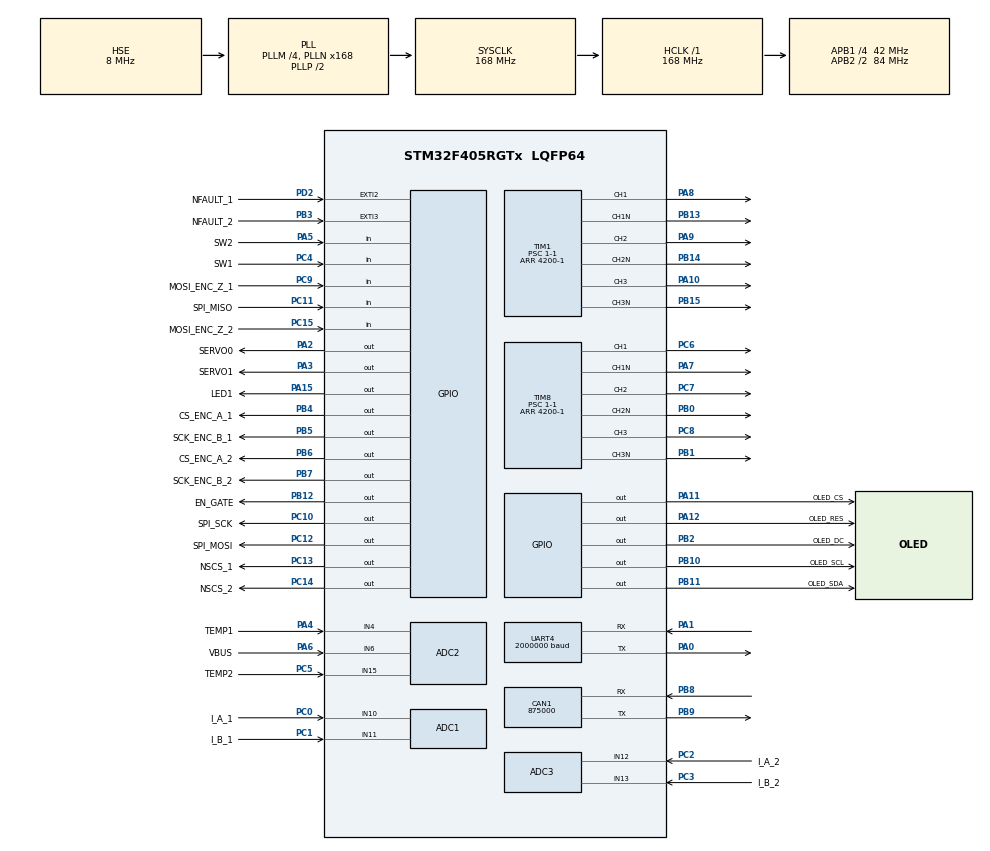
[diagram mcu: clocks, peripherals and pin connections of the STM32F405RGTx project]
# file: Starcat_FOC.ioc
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ADC1.Channel-16\#ChannelInjectedConversion=ADC_CHANNEL_10
ADC1.Channel-17\#ChannelInjectedConversion=ADC_CHANNEL_11
ADC1.Channel-18\#ChannelRegularConversion=ADC_CHANNEL_11
ADC1.Channel-9\#ChannelRegularConversion=ADC_CHANNEL_10
ADC1.ContinuousConvMode=DISABLE
ADC1.DMAContinuousRequests=DISABLE
ADC1.DiscontinuousConvMode=DISABLE
ADC1.EOCSelection=ADC_EOC_SEQ_CONV
ADC1.ExternalTrigConv=ADC_SOFTWARE_START
ADC1.ExternalTrigInjecConv=ADC_EXTERNALTRIGINJECCONV_T1_CC4
ADC1.InjNumberOfConversion=2
ADC1.InjectedConvMode=None
ADC1.InjectedOffset-16\#ChannelInjectedConversion=0
ADC1.InjectedOffset-17\#ChannelInjectedConversion=0
ADC1.InjectedRank-16\#ChannelInjectedConversion=1
ADC1.InjectedRank-17\#ChannelInjectedConversion=2
ADC1.NbrOfConversion=2
ADC1.NbrOfConversionFlag=1
ADC1.Rank-18\#ChannelRegularConversion=2
ADC1.Rank-9\#ChannelRegularConversion=1
ADC1.SamplingTime-16\#ChannelInjectedConversion=ADC_SAMPLETIME_15CYCLES
ADC1.SamplingTime-17\#ChannelInjectedConversion=ADC_SAMPLETIME_15CYCLES
ADC1.SamplingTime-18\#ChannelRegularConversion=ADC_SAMPLETIME_3CYCLES
ADC1.SamplingTime-9\#ChannelRegularConversion=ADC_SAMPLETIME_3CYCLES
ADC1.ScanConvMode=ENABLE
ADC1.master=1
ADC2.Channel-0\#ChannelRegularConversion=ADC_CHANNEL_6
ADC2.Channel-4\#ChannelRegularConversion=ADC_CHANNEL_4
ADC2.Channel-5\#ChannelRegularConversion=ADC_CHANNEL_15
ADC2.ContinuousConvMode=ENABLE
ADC2.DMAContinuousRequests=ENABLE
ADC2.EOCSelection=ADC_EOC_SEQ_CONV
ADC2.ExternalTrigConv=ADC_SOFTWARE_START
ADC2.NbrOfConversion=3
ADC2.NbrOfConversionFlag=1
ADC2.Rank-4\#ChannelRegularConversion=2
ADC2.Rank-5\#ChannelRegularConversion=3
ADC2.SamplingTime-0\#ChannelRegularConversion=ADC_SAMPLETIME_480CYCLES
ADC2.SamplingTime-4\#ChannelRegularConversion=ADC_SAMPLETIME_480CYCLES
ADC2.SamplingTime-5\#ChannelRegularConversion=ADC_SAMPLETIME_480CYCLES
ADC2.ScanConvMode=ENABLE
ADC3.Channel-0\#ChannelRegularConversion=ADC_CHANNEL_12
ADC3.Channel-10\#ChannelRegularConversion=ADC_CHANNEL_13
ADC3.Channel-8\#ChannelInjectedConversion=ADC_CHANNEL_12
ADC3.Channel-9\#ChannelInjectedConversion=ADC_CHANNEL_13
ADC3.ContinuousConvMode=DISABLE
ADC3.DMAContinuousRequests=DISABLE
ADC3.EOCSelection=ADC_EOC_SEQ_CONV
ADC3.ExternalTrigConv=ADC_SOFTWARE_START
ADC3.ExternalTrigInjecConv=ADC_EXTERNALTRIGINJECCONV_T8_CC4
ADC3.InjNumberOfConversion=2
ADC3.InjectedOffset-8\#ChannelInjectedConversion=0
ADC3.InjectedOffset-9\#ChannelInjectedConversion=0
ADC3.InjectedRank-8\#ChannelInjectedConversion=1
ADC3.InjectedRank-9\#ChannelInjectedConversion=2
ADC3.NbrOfConversion=2
ADC3.NbrOfConversionFlag=1
ADC3.Rank-0\#ChannelRegularConversion=1
ADC3.Rank-10\#ChannelRegularConversion=2
ADC3.SamplingTime-0\#ChannelRegularConversion=ADC_SAMPLETIME_56CYCLES
ADC3.SamplingTime-10\#ChannelRegularConversion=ADC_SAMPLETIME_56CYCLES
ADC3.SamplingTime-8\#ChannelInjectedConversion=ADC_SAMPLETIME_15CYCLES
ADC3.SamplingTime-9\#ChannelInjectedConversion=ADC_SAMPLETIME_15CYCLES
ADC3.ScanConvMode=ENABLE
CAN1.CalculateBaudRate=875000
CAN1.CalculateTimeBit=1142
CAN1.CalculateTimeQuantum=380.95238095238096
Dma.ADC2.1.Direction=DMA_PERIPH_TO_MEMORY
Dma.ADC2.1.FIFOMode=DMA_FIFOMODE_DISABLE
Dma.ADC2.1.Instance=DMA2_Stream2
Dma.ADC2.1.MemDataAlignment=DMA_MDATAALIGN_HALFWORD
Dma.ADC2.1.MemInc=DMA_MINC_ENABLE
Dma.ADC2.1.Mode=DMA_CIRCULAR
Dma.ADC2.1.PeriphDataAlignment=DMA_PDATAALIGN_HALFWORD
Dma.ADC2.1.PeriphInc=DMA_PINC_DISABLE
Dma.ADC2.1.Priority=DMA_PRIORITY_LOW
Dma.Request0=UART4_RX
Dma.Request1=ADC2
Dma.UART4_RX.0.Direction=DMA_PERIPH_TO_MEMORY
Dma.UART4_RX.0.FIFOMode=DMA_FIFOMODE_DISABLE
Dma.UART4_RX.0.Instance=DMA1_Stream2
Dma.UART4_RX.0.MemDataAlignment=DMA_MDATAALIGN_BYTE
Dma.UART4_RX.0.MemInc=DMA_MINC_ENABLE
Dma.UART4_RX.0.Mode=DMA_NORMAL
Dma.UART4_RX.0.PeriphDataAlignment=DMA_PDATAALIGN_BYTE
Dma.UART4_RX.0.PeriphInc=DMA_PINC_DISABLE
Dma.UART4_RX.0.Priority=DMA_PRIORITY_LOW
Mcu.Family=STM32F4
Mcu.Name=STM32F405RGTx
Mcu.Package=LQFP64
NVIC.ADC_IRQn=true\:0\:0\:true\:false\:true\:true\:true\:true
NVIC.DMA1_Stream2_IRQn=true\:0\:0\:true\:false\:true\:false\:true\:true
NVIC.DMA2_Stream2_IRQn=true\:0\:0\:false\:false\:true\:false\:true\:true
NVIC.EXTI2_IRQn=true\:13\:0\:true\:false\:true\:true\:true\:true
NVIC.EXTI3_IRQn=true\:13\:0\:true\:false\:true\:true\:true\:true
NVIC.PriorityGroup=NVIC_PRIORITYGROUP_4
NVIC.TIM4_IRQn=true\:4\:0\:true\:false\:true\:true\:true\:true
NVIC.UART4_IRQn=true\:1\:0\:true\:false\:true\:true\:true\:true
PA0-WKUP.Mode=Asynchronous
PA0-WKUP.Signal=UART4_TX
PA1.Mode=Asynchronous
PA1.Signal=UART4_RX
PA10.Signal=S_TIM1_CH3
PA11.GPIO_Label=OLED_CS
PA11.Signal=GPIO_Output
PA12.GPIO_Label=OLED_RES
PA12.Signal=GPIO_Output
PA13.Mode=Serial_Wire
PA13.Signal=SYS_JTMS-SWDIO
PA14.Mode=Serial_Wire
PA14.Signal=SYS_JTCK-SWCLK
PA15.GPIO_Label=LED1
PA15.PinState=GPIO_PIN_SET
PA15.Signal=GPIO_Output
PA2.GPIO_Label=SERVO0
PA2.Signal=GPIO_Output
PA3.GPIO_Label=SERVO1
PA3.Signal=GPIO_Output
PA4.GPIO_Label=TEMP1
PA4.GPIO_Mode=GPIO_MODE_ANALOG
PA4.GPIO_PuPd=GPIO_NOPULL
PA4.Signal=ADCx_IN4
PA5.GPIO_Label=SW2
PA5.Signal=GPIO_Input
PA6.GPIO_Label=VBUS
PA6.GPIO_Mode=GPIO_MODE_ANALOG
PA6.GPIO_PuPd=GPIO_NOPULL
PA6.Signal=ADCx_IN6
PA7.Mode=PWM Generation1 CH1 CH1N
PA7.Signal=TIM8_CH1N
PA8.Signal=S_TIM1_CH1
PA9.Signal=S_TIM1_CH2
PB0.Mode=PWM Generation2 CH2 CH2N
PB0.Signal=TIM8_CH2N
PB1.Mode=PWM Generation3 CH3 CH3N
PB1.Signal=TIM8_CH3N
PB10.GPIO_Label=OLED_SCL
PB10.GPIO_ModeDefaultOutputPP=GPIO_MODE_OUTPUT_PP
PB10.GPIO_PuPd=GPIO_PULLDOWN
PB10.GPIO_Speed=GPIO_SPEED_FREQ_LOW
PB10.Signal=GPIO_Output
PB11.GPIO_Label=OLED_SDA
PB11.GPIO_PuPd=GPIO_PULLDOWN
PB11.Signal=GPIO_Output
PB12.GPIO_Label=EN_GATE
PB12.GPIO_PuPd=GPIO_NOPULL
PB12.PinState=GPIO_PIN_RESET
PB12.Signal=GPIO_Output
PB13.Mode=PWM Generation1 CH1 CH1N
PB13.Signal=TIM1_CH1N
PB14.Mode=PWM Generation2 CH2 CH2N
PB14.Signal=TIM1_CH2N
PB15.Mode=PWM Generation3 CH3 CH3N
PB15.Signal=TIM1_CH3N
PB2.GPIO_Label=OLED_DC
PB2.GPIO_PuPd=GPIO_PULLDOWN
PB2.GPIO_Speed=GPIO_SPEED_FREQ_LOW
PB2.PinState=GPIO_PIN_RESET
PB2.Signal=GPIO_Output
PB3.GPIO_Label=NFAULT_2
PB3.GPIO_ModeDefaultEXTI=GPIO_MODE_IT_RISING_FALLING
PB3.GPIO_PuPd=GPIO_PULLUP
PB3.Signal=GPXTI3
PB4.GPIO_Label=CS_ENC_A_1
PB4.Signal=GPIO_Output
PB5.GPIO_Label=SCK_ENC_B_1
PB5.GPIO_Speed=GPIO_SPEED_FREQ_LOW
PB5.Signal=GPIO_Output
PB6.GPIO_Label=CS_ENC_A_2
PB6.Signal=GPIO_Output
PB7.GPIO_Label=SCK_ENC_B_2
PB7.GPIO_Speed=GPIO_SPEED_FREQ_LOW
PB7.Signal=GPIO_Output
PB8.Mode=CAN_Activate
PB8.Signal=CAN1_RX
PB9.Mode=CAN_Activate
PB9.Signal=CAN1_TX
PC0.GPIO_Label=I_A_1
PC0.Signal=ADCx_IN10
PC1.GPIO_Label=I_B_1
PC1.Signal=ADCx_IN11
PC10.GPIO_Label=SPI_SCK
PC10.Signal=GPIO_Output
PC11.GPIO_Label=SPI_MISO
PC11.Signal=GPIO_Input
PC12.GPIO_Label=SPI_MOSI
PC12.Signal=GPIO_Output
PC13-ANTI_TAMP.GPIO_Label=NSCS_1
PC13-ANTI_TAMP.GPIO_PuPd=GPIO_NOPULL
PC13-ANTI_TAMP.PinState=GPIO_PIN_SET
PC13-ANTI_TAMP.Signal=GPIO_Output
PC14-OSC32_IN.GPIO_Label=NSCS_2
PC14-OSC32_IN.GPIO_PuPd=GPIO_NOPULL
PC14-OSC32_IN.PinState=GPIO_PIN_SET
PC14-OSC32_IN.Signal=GPIO_Output
PC15-OSC32_OUT.GPIO_Label=MOSI_ENC_Z_2
PC15-OSC32_OUT.Signal=GPIO_Input
PC2.GPIO_Label=I_A_2
PC2.Signal=ADCx_IN12
PC3.GPIO_Label=I_B_2
PC3.Signal=ADCx_IN13
PC4.GPIO_Label=SW1
PC4.Signal=GPIO_Input
PC5.GPIO_Label=TEMP2
PC5.GPIO_Mode=GPIO_MODE_ANALOG
PC5.GPIO_PuPd=GPIO_NOPULL
PC5.Signal=ADCx_IN15
PC6.Signal=S_TIM8_CH1
PC7.Signal=S_TIM8_CH2
PC8.Signal=S_TIM8_CH3
PC9.GPIO_Label=MOSI_ENC_Z_1
PC9.Signal=GPIO_Input
PD2.GPIO_Label=NFAULT_1
PD2.GPIO_ModeDefaultEXTI=GPIO_MODE_IT_RISING_FALLING
PD2.GPIO_PuPd=GPIO_PULLUP
PD2.Signal=GPXTI2
PH0-OSC_IN.Mode=HSE-External-Oscillator
PH0-OSC_IN.Signal=RCC_OSC_IN
PH1-OSC_OUT.Mode=HSE-External-Oscillator
PH1-OSC_OUT.Signal=RCC_OSC_OUT
ProjectManager.HeapSize=0x200
ProjectManager.StackSize=0x400
ProjectManager.TargetToolchain=STM32CubeIDE
RCC.48MHZClocksFreq_Value=84000000
RCC.AHBFreq_Value=168000000
RCC.APB1CLKDivider=RCC_HCLK_DIV4
RCC.APB1Freq_Value=42000000
RCC.APB1TimFreq_Value=84000000
RCC.APB2CLKDivider=RCC_HCLK_DIV2
RCC.APB2Freq_Value=84000000
RCC.APB2TimFreq_Value=168000000
RCC.CortexFreq_Value=168000000
RCC.HCLKFreq_Value=168000000
RCC.HSE_VALUE=8000000
RCC.HSI_VALUE=16000000
RCC.LSE_VALUE=32768
RCC.PLLM=4
RCC.PLLN=168
RCC.PLLSourceVirtual=RCC_PLLSOURCE_HSE
RCC.SYSCLKFreq_VALUE=168000000
RCC.SYSCLKSource=RCC_SYSCLKSOURCE_PLLCLK
RCC.VCOOutputFreq_Value=336000000
SH.ADCx_IN10.0=ADC1_IN10,IN10
SH.ADCx_IN11.0=ADC1_IN11,IN11
SH.ADCx_IN12.0=ADC3_IN12,IN12
SH.ADCx_IN13.0=ADC3_IN13,IN13
SH.ADCx_IN15.0=ADC2_IN15,IN15
SH.ADCx_IN4.0=ADC2_IN4,IN4
SH.ADCx_IN6.0=ADC2_IN6,IN6
SH.S_TIM1_CH1.0=TIM1_CH1,PWM Generation1 CH1 CH1N
SH.S_TIM1_CH2.0=TIM1_CH2,PWM Generation2 CH2 CH2N
SH.S_TIM1_CH3.0=TIM1_CH3,PWM Generation3 CH3 CH3N
SH.S_TIM8_CH1.0=TIM8_CH1,PWM Generation1 CH1 CH1N
SH.S_TIM8_CH2.0=TIM8_CH2,PWM Generation2 CH2 CH2N
SH.S_TIM8_CH3.0=TIM8_CH3,PWM Generation3 CH3 CH3N
STMicroelectronics.X-CUBE-ALGOBUILD.1.3.0.LibraryCcDSPOoLibraryJjDSPOoLibrary=true
TIM1.AutoReloadPreload=TIM_AUTORELOAD_PRELOAD_ENABLE
TIM1.BreakPolarity=TIM_BREAKPOLARITY_HIGH
TIM1.BreakState=TIM_BREAK_DISABLE
TIM1.Channel-PWM\ Generation1\ CH1\ CH1N=TIM_CHANNEL_1
TIM1.Channel-PWM\ Generation2\ CH2\ CH2N=TIM_CHANNEL_2
TIM1.Channel-PWM\ Generation3\ CH3\ CH3N=TIM_CHANNEL_3
TIM1.Channel-PWM\ Generation4\ No\ Output=TIM_CHANNEL_4
TIM1.ClockDivision=TIM_CLOCKDIVISION_DIV1
TIM1.CounterMode=TIM_COUNTERMODE_CENTERALIGNED2
TIM1.DeadTime=10-1
TIM1.LockLevel=TIM_LOCKLEVEL_OFF
TIM1.OCMode_PWM-PWM\ Generation1\ CH1\ CH1N=TIM_OCMODE_PWM1
TIM1.OCMode_PWM-PWM\ Generation2\ CH2\ CH2N=TIM_OCMODE_PWM1
TIM1.OCMode_PWM-PWM\ Generation3\ CH3\ CH3N=TIM_OCMODE_PWM1
TIM1.OCMode_PWM-PWM\ Generation4\ No\ Output=TIM_OCMODE_PWM2
TIM1.Period=4200-1
TIM1.Prescaler=1-1
TIM1.Pulse-PWM\ Generation4\ No\ Output=0
TIM1.RepetitionCounter=0
TIM1.TIM_MasterOutputTrigger=TIM_TRGO_OC4REF
TIM2.AutoReloadPreload=TIM_AUTORELOAD_PRELOAD_ENABLE
TIM2.Period=10000-1
TIM2.Prescaler=84-1
TIM2.TIM_MasterOutputTrigger=TIM_TRGO_UPDATE
TIM4.AutoReloadPreload=TIM_AUTORELOAD_PRELOAD_ENABLE
TIM4.Period=1000-1
TIM4.Prescaler=42-1
TIM5.AutoReloadPreload=TIM_AUTORELOAD_PRELOAD_ENABLE
TIM5.Prescaler=1-1
TIM8.AutoReloadPreload=TIM_AUTORELOAD_PRELOAD_ENABLE
TIM8.Channel-PWM\ Generation1\ CH1\ CH1N=TIM_CHANNEL_1
TIM8.Channel-PWM\ Generation2\ CH2\ CH2N=TIM_CHANNEL_2
TIM8.Channel-PWM\ Generation3\ CH3\ CH3N=TIM_CHANNEL_3
TIM8.Channel-PWM\ Generation4\ No\ Output=TIM_CHANNEL_4
TIM8.CounterMode=TIM_COUNTERMODE_CENTERALIGNED2
TIM8.DeadTime=10-1
TIM8.OCMode_PWM-PWM\ Generation1\ CH1\ CH1N=TIM_OCMODE_PWM1
TIM8.OCMode_PWM-PWM\ Generation2\ CH2\ CH2N=TIM_OCMODE_PWM1
TIM8.OCMode_PWM-PWM\ Generation3\ CH3\ CH3N=TIM_OCMODE_PWM1
TIM8.OCMode_PWM-PWM\ Generation4\ No\ Output=TIM_OCMODE_PWM2
TIM8.Period=4200-1
TIM8.Prescaler=1-1
TIM8.Pulse-PWM\ Generation1\ CH1\ CH1N=0
TIM8.Pulse-PWM\ Generation4\ No\ Output=0
TIM8.TIM_MasterOutputTrigger=TIM_TRGO_OC4REF
UART4.BaudRate=2000000
UART4.VirtualMode=Asynchronous
VP_STMicroelectronics.X-CUBE-ALGOBUILD_VS_DSPOoLibraryJjLibrary_1.3.0_1.3.0.Mode=DSPOoLibraryJjLibrary
VP_TIM1_VS_ClockSourceINT.Mode=Internal
VP_TIM1_VS_no_output4.Mode=PWM Generation4 No Output
VP_TIM2_VS_ClockSourceINT.Mode=Internal
VP_TIM4_VS_ClockSourceINT.Mode=Internal
VP_TIM5_VS_ClockSourceINT.Mode=Internal
VP_TIM8_VS_ClockSourceINT.Mode=Internal
VP_TIM8_VS_no_output4.Mode=PWM Generation4 No Output
board=custom

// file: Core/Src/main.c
/* USER CODE BEGIN Header */
/**
  ******************************************************************************
  * @file           : main.c
  * @brief          : Main program body
  ******************************************************************************
  * @attention
  *
  * Copyright (c) 2024 STMicroelectronics.
  * All rights reserved.
  *
  * This software is licensed under terms that can be found in the LICENSE file
  * in the root directory of this software component.
  * If no LICENSE file comes with this software, it is provided AS-IS.
  *
  ******************************************************************************
  */
/* USER CODE END Header */
#include "main.h"
#include "adc.h"
#include "can.h"
#include "dma.h"
#include "tim.h"
#include "usart.h"
#include "gpio.h"

/* USER CODE BEGIN Includes */
#include "MT6701.h"
#include "NTC.h"
#include "oled.h"
#include "DRV8301.h"
#include "connect.h"
#include "FOC.h"
/* USER CODE END Includes */

/* USER CODE BEGIN PTD */

int vel_flag=0;
int pos_flag=0;
void HAL_TIM_PeriodElapsedCallback(TIM_HandleTypeDef *htim)
{

	//定时�???1000hz 速度�???
	if (htim->Instance == TIM4)
	{
		static int i=0;
		i++;
		vel_flag=1;
		if(i>=10)
		{
			i=0;
			pos_flag=1;
		}
	}
}

/* USER CODE END PTD */

/* USER CODE BEGIN PV */

extern int fps,FPS;
extern float TIME;
extern float err_speed;
extern int DISPLAY_DATA;
extern float  I_A,I_B,ud,uq,v,pos,vel;
extern float Uq,Ud;
/* USER CODE END PV */

void SystemClock_Config(void);

int main(void)
{

  /* MCU Configuration--------------------------------------------------------*/

  /* Reset of all peripherals, Initializes the Flash interface and the Systick. */
  HAL_Init();

  /* Configure the system clock */
  SystemClock_Config();

  /* Initialize all configured peripherals */
  MX_GPIO_Init();
  MX_DMA_Init();
  MX_UART4_Init();
  MX_ADC1_Init();
  MX_TIM8_Init();
  MX_TIM1_Init();
  MX_ADC2_Init();
  MX_ADC3_Init();
  MX_TIM2_Init();
  MX_CAN1_Init();
  MX_TIM5_Init();
  MX_TIM4_Init();
  /* USER CODE BEGIN 2 */
//  //用于生成NTC温度对应�????????????????
//  generateLookupTable();
//  HAL_Delay(10000);

  OLED_Init();
  Connect_Init();
  //初始化DRV8301芯片
  DRV8301_Init(&DRV8301_1);
  DRV8301_Init(&DRV8301_2);
  MT6701_Init(&encoder1);
  MT6701_Init(&encoder2);

  FOC_Regular_ADC();

//  FOC_Init(&motor1);
  FOC_Init(&motor2);

  /* USER CODE END 2 */

  /* Infinite loop */
  /* USER CODE BEGIN WHILE */
  HAL_TIM_Base_Start_IT(&htim4);
  //�?????????启motor1的foc算法
//  FOC_Start(&motor1);
  FOC_Start(&motor2);

  OLED_Printf(0, 0, 8, "CDH");
  OLED_Reflash();

  float DATA[20];
//  float KI_prev=0;

  while (1)
  {
    /* USER CODE END WHILE */

    /* USER CODE BEGIN 3 */

	  //电池电压，双路温度固定频率采�???????????-100hz
	  FOC_Regular_ADC();  //函数耗时
	  //处理串口数据
	  processSerialData();//函数耗时
//	  	  motor2.Iq_pid->kp = KP;
//	  	  motor2.Iq_pid->ki = KI;
//	  	  motor2.Iq_pid->kd = KD;
//	  	  motor2.Id_pid->kp = KP;
//	  	  motor2.Id_pid->ki = KI;
//	  	  motor2.Id_pid->kd = KD;
//	  motor2.P_pid->kp = KP;
//	  motor2.P_pid->ki = KI;
//	  motor2.P_pid->kd = KD;
	  motor2.V_pid->kp = KP;
	  motor2.V_pid->ki = KI;
	  motor2.V_pid->kd = KD;
//	  motor1.Id_pid->kp = KP;
//	  motor1.Id_pid->ki = KI;
//	  DATA[0] = motor1.speed;
//	  DATA[1] = err_speed;

//	  DATA[0] = motor2.I_q;
//	  DATA[1] = motor2.I_d;
//	  DATA[2] = uq;
//	  DATA[3] = ud;
	  DATA[0] = motor2.I_q;
	  DATA[1] = motor2.speed;
	  DATA[2] = motor2.encoder->rad_all;
	  DATA[3] = pos;
	  DATA[4] = vel;
	  DATA[5] = timer_foc.time;
	  DATA[6] = FPS;
	  fps++;
	  if(DISPLAY_DATA==1)
	  {
		  vofa_JustFloat_output(DATA,7); //send a float data need 65us，波特率�??????????2000000
	  }
//	  //位置环控制代�???
//	  if(pos_flag==1)
//	  {
//		  pos_flag=0;
//		//位置闭环
////		motor1.except_vel =FOC_CLOSED_Pos(&motor1,pos);
////		motor2.except_vel =FOC_CLOSED_Pos(&motor2,pos);
//			if(pos>motor2.encoder->rad_all)
//			{
//				motor2.except_iq+=KP;
//			}
//			else if(vel<motor2.encoder->rad_all)
//			{
//				motor2.except_iq-=KP;
//			}
//			motor2.except_vel = LIMIT(motor2.except_vel,-20.0f,20.0f);
//
//	  }
//	  //速度环控制代�???
//	  if(vel_flag==1)
//	  {
//		  	vel_flag=0;
//			//获取电机电角�???
////			FOC_Get_electricalAngle_speed(&motor1);
////			//获取电机电角�???
//			FOC_Get_electricalAngle_speed(&motor2);
//			//速度闭环
////			motor1.except_iq = FOC_CLOSED_Vel(&motor1,motor1.except_vel);
////			motor2.except_iq = FOC_CLOSED_Vel(&motor2,motor2.except_vel);
////			motor1.except_iq = FOC_CLOSED_Vel(&motor1,vel);
////			if(motor2.except_vel>motor2.speed)
////			{
////				motor2.except_iq+=0.01;
////			}
////			else if(motor2.except_vel<motor2.speed)
////			{
////				motor2.except_iq-=0.01;
////			}
////			motor2.except_iq = FOC_CLOSED_Vel(&motor2,vel);
////			motor1.except_id = 0;
//			motor2.except_id = 0;
//			//这个航模电机只能承受这么大uq，ud
//			motor2.except_iq = LIMIT(motor2.except_iq,-5.0f,5.0f);
//
//
//
//
//
//
//	  }

//	  motor1.Id_pid->kp = KP;
//	  motor1.Id_pid->ki = KI;
//	  motor1.Id_pid->kd = KD;
//	  motor2.Id_pid->kp = KP;
//	  motor2.Id_pid->ki = KI;
//	  motor2.Id_pid->kd = KD;

//	  DATA[1] = motor1.hadc->Instance->JDR2;
//	  DATA[0] = TTA;
//	  DATA[1] = TTB;
//	  DATA[2] = TTC;
//	  DATA[5] = QQ;
//	  DATA[6] = DD;
//	  DATA[7] = 4096.0f-motor1.hadc->Instance->JDR1-motor1.hadc->Instance->JDR2;
//	  DATA[6] = motor1.electricalAngle;

//	  DATA[0] = FOC_Get_VBUS();	//误差10mv以内，更新频�?????????2hz
//	  DATA[0] = motor1.I_q;
//	  DATA[1] = AAA;
//	  DATA[2] = motor1.electricalAngle;
//	  DATA[3] = FPS;
//	  DATA[2] = FOC_Get_TEMP1();
//	  DATA[3] = FOC_Get_TEMP2();
//	  DATA[0] = motor1.encoder->rad_all;		//M0 ALL
//	  DATA[1] = motor2.encoder->rad_all;;		//M1 ALL
//	  DATA[2] = FOC_Get_VBUS();
//	  DATA[3] = FOC_Get_TEMP1();
//	  DATA[4] = FOC_Get_TEMP2();
//	  DATA[5] = motor1.I_A;  				//	M0-A
//	  DATA[6] = motor1.I_B;					//	M0-B
//	  DATA[7] = motor1.I_C;	//	M0-C
//	  DATA[8] = motor2.I_A;					//  M1-A
//	  DATA[9] = motor2.I_B ;					//  M1-B
//	  DATA[10] =motor2.I_C;	//  M1-C
//	  DATA[11] = motor1.DRV8301->EN_State;			//使能状�??1
//	  DATA[12] = motor2.DRV8301->EN_State;			//使能状�??2
//	  DATA[13] = motor1.I_d;
//	  DATA[14] = motor1.I_q;
//	  DATA[15] = motor2.I_d;
//	  DATA[16] = motor2.I_q;
//	  DATA[17] = TIME;
//	  DATA[18] = FPS;
//
//	  printf("encoder1 VBUS motor1_a_b_c_EN_d_q TIME FPS:%7.3f,%7.3f,%7.3f,%7.3f,%7.3f,%7.3f,%7.3f,%7.3f,%7.3f,%7d\n",
//			  motor1.encoder->rad_all,FOC_Get_VBUS(),motor1.I_A,motor1.I_B,motor1.I_C,
//			  motor1.DRV8301->EN_State,motor1.I_d,motor1.I_q,TIME,FPS);
//	  //过热保护
//	  if((FOC_Get_TEMP1()>60.0f))
//	  {
//		  printf("The overheating protection has been activated and the %2d motors have been shut down!",1);
//		  HAL_Delay(1000);
//	  }
//	  else if (FOC_Get_TEMP2()>60.0f)
//	  {
//		  printf("The overheating protection has been activated and the %2d motors have been shut down!",2);
//		  HAL_Delay(1000);
//	  }
//	  else
//	  {

//	  }
//	  printf("I_A:%7d\n",I_A);

//	  fps++;

  }
  /* USER CODE END 3 */
}

void SystemClock_Config(void)
{
  RCC_OscInitTypeDef RCC_OscInitStruct = {0};
  RCC_ClkInitTypeDef RCC_ClkInitStruct = {0};

  /** Configure the main internal regulator output voltage
  */
  __HAL_RCC_PWR_CLK_ENABLE();
  __HAL_PWR_VOLTAGESCALING_CONFIG(PWR_REGULATOR_VOLTAGE_SCALE1);

  /** Initializes the RCC Oscillators according to the specified parameters
  * in the RCC_OscInitTypeDef structure.
  */
  RCC_OscInitStruct.OscillatorType = RCC_OSCILLATORTYPE_HSE;
  RCC_OscInitStruct.HSEState = RCC_HSE_ON;
  RCC_OscInitStruct.PLL.PLLState = RCC_PLL_ON;
  RCC_OscInitStruct.PLL.PLLSource = RCC_PLLSOURCE_HSE;
  RCC_OscInitStruct.PLL.PLLM = 4;
  RCC_OscInitStruct.PLL.PLLN = 168;
  RCC_OscInitStruct.PLL.PLLP = RCC_PLLP_DIV2;
  RCC_OscInitStruct.PLL.PLLQ = 4;
  if (HAL_RCC_OscConfig(&RCC_OscInitStruct) != HAL_OK)
  {
    Error_Handler();
  }

  /** Initializes the CPU, AHB and APB buses clocks
  */
  RCC_ClkInitStruct.ClockType = RCC_CLOCKTYPE_HCLK|RCC_CLOCKTYPE_SYSCLK
                              |RCC_CLOCKTYPE_PCLK1|RCC_CLOCKTYPE_PCLK2;
  RCC_ClkInitStruct.SYSCLKSource = RCC_SYSCLKSOURCE_PLLCLK;
  RCC_ClkInitStruct.AHBCLKDivider = RCC_SYSCLK_DIV1;
  RCC_ClkInitStruct.APB1CLKDivider = RCC_HCLK_DIV4;
  RCC_ClkInitStruct.APB2CLKDivider = RCC_HCLK_DIV2;

  if (HAL_RCC_ClockConfig(&RCC_ClkInitStruct, FLASH_LATENCY_5) != HAL_OK)
  {
    Error_Handler();
  }
}

void Error_Handler(void)
{
  __disable_irq();
  while (1)
  {
  }
}
